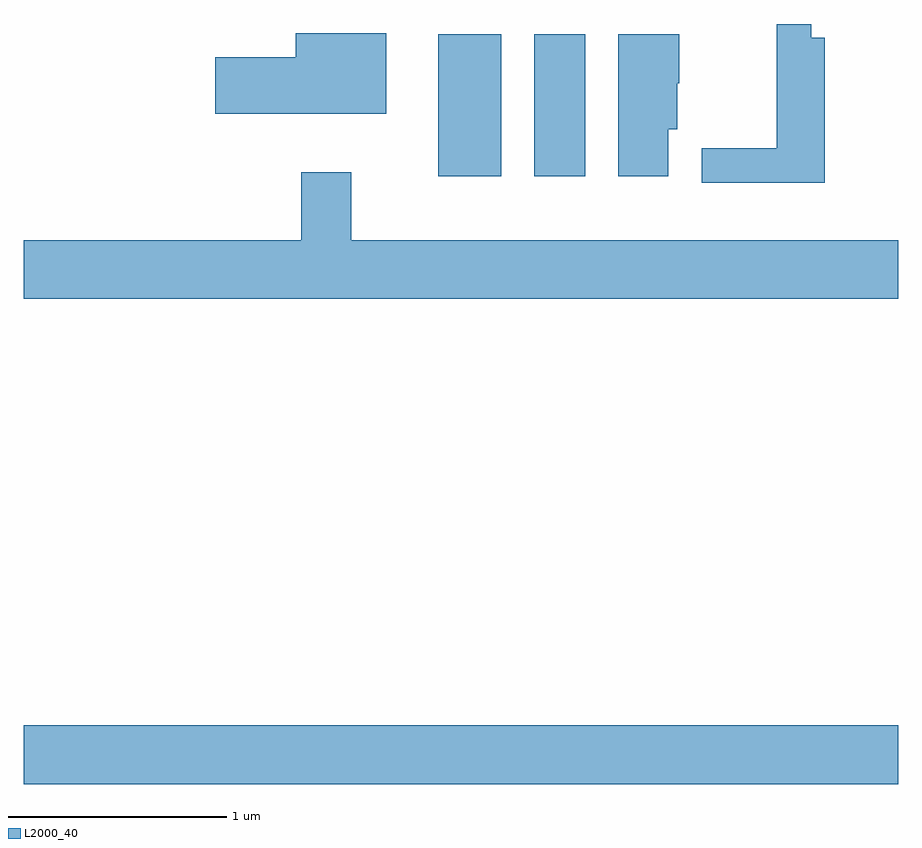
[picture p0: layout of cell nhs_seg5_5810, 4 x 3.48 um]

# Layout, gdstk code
import gdstk
lib = gdstk.Library(unit=1e-6, precision=1e-09)
def R(c, l, rs):  # rectangles x0, y0, x1, y1
    for r in rs: c.add(gdstk.rectangle(r[:2], r[2:], *l))
def P(c, l, *ps):  # polygons
    for p in ps: c.add(gdstk.Polygon(p, *l))
L2000_40 = (2000, 40)

nhs_seg5_5810 = lib.new_cell('nhs_seg5_5810')
R(nhs_seg5_5810, L2000_40, [(357.611,1434.596,361.611,1434.864), (359.506,1437.376,359.794,1438.024), (359.946,1437.376,360.179,1438.024)])
P(nhs_seg5_5810, L2000_40, [(361.274,1438.009),(361.214,1438.009),(361.214,1438.072),(361.056,1438.072),(361.056,1437.504),(360.713,1437.504),(360.713,1437.346),(361.274,1437.346)],
  [(359.269,1438.029),(358.856,1438.029),(358.856,1437.919),(358.486,1437.919),(358.486,1437.661),(359.269,1437.661)],
  [(360.559,1437.591),(360.599,1437.591),(360.599,1437.8),(360.609,1437.8),(360.609,1438.024),(360.331,1438.024),(360.331,1437.376),(360.559,1437.376)],
  [(361.611,1437.084),(359.109,1437.084),(359.109,1437.394),(358.881,1437.394),(358.881,1437.084),(357.611,1437.084),(357.611,1436.816),(361.611,1436.816)])

lib.write_gds('nhs_seg5_5810.gds')
